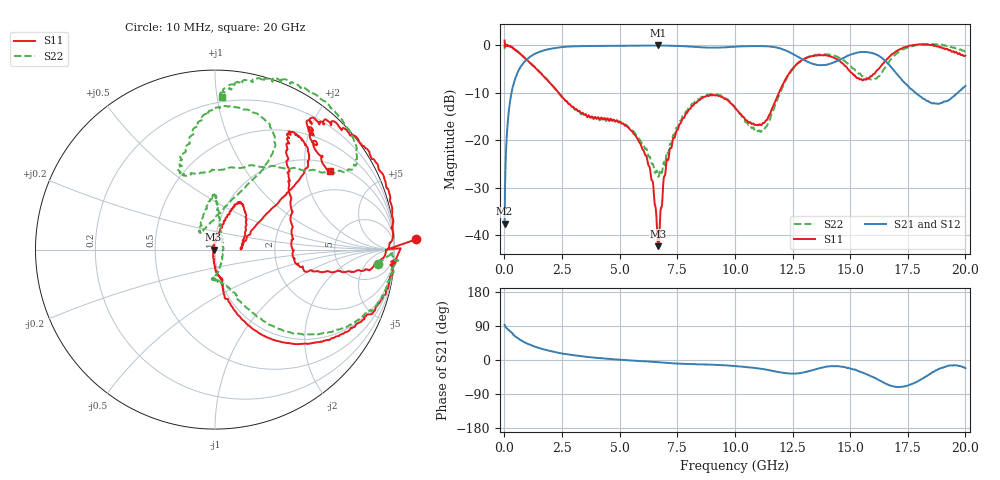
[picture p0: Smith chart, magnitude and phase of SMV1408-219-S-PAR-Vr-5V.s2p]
! Skyworks SMV1408-219 De-embedded S-Parameter Data
! Created  11-5-2013
! 2 Port Network Data
! Mounted on Board # SK41159-3 Rev 1 in Series, Cathode is connected to RF1 as Input( Pin 1) and Anode is connected RF2 as Output(Pin 2)
! Temperature = +25 °C
! RF traces and connectors are de-embedded using TRL calibration and standards
! Reference planes are package pins
! Pin 1 Input port (S-Port1), Pin 2 Output port (S-port2)
! Pin = 0 dBm, Bias: Vr = 5V
! Dev # 1
#  HZ  S  DB  R  50.00
! Rohde & Schwarz ZVA24 4Ports - Version 2.90 - 1145.1110k26 SN: 100216
! Date: 2013-11-05 15:25:47
! Measurements: S11 S21 S12 S22
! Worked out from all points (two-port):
!   2000 points, 10 MHz to 20 GHz, reference 50 ohm
!   highest |S21| = -0.06 dB at 6.66 GHz (marker M1); lowest = -37.6 dB at 10 MHz (marker M2)
!   |S21| within 3 dB of the highest: 956.2 MHz to 12.96 GHz (12.01 GHz wide, 173 % of centre); 14.54 GHz to 16.47 GHz (1.928 GHz wide, 12.4 % of centre)
!   lowest |S11| = -42.4 dB at 6.67 GHz (marker M3), VSWR 1.02, Z = 49.2 - j0.0307 ohm
!   |S11| at or under -10 dB: 2.348 GHz to 11.91 GHz (9.561 GHz wide, 134 % of centre)
!   |S22| runs from -27.7 to 0.3 dB; largest |S21 - S12| = 0.033
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1e7  1.00 2.9  -37.63 92.7  -39.04 87.0  -0.83 -4.9
2.1e8  -0.15 -13.0  -13.17 78.2  -13.22 77.9  -0.21 -12.7
6.3e8  -1.62 -35.7  -5.22 55.5  -5.21 55.5  -1.53 -31.5
1.71e9  -6.59 -65.6  -1.10 28.0  -1.11 28.1  -6.45 -56.1
3.35e9  -14.34 -78.1  -0.19 9.8  -0.19 9.7  -14.52 -79.5
5.73e9  -19.41 -89.2  -0.09 -2.2  -0.09 -2.1  -18.88 -79.0
6.36e9  -27.75 -103.0  -0.07 -4.6  -0.07 -4.7  -24.43 -47.2
6.66e9  -42.11 -175.2  -0.06 -6.1  -0.07 -5.9  -27.37 -4.0
6.67e9  -42.36 -177.7  -0.06 -6.1  -0.07 -5.9  -27.59 -5.0
6.68e9  -42.25 -176.5  -0.06 -6.2  -0.07 -6.0  -27.73 -5.7
7.11e9  -24.15 78.7  -0.09 -7.9  -0.09 -8.0  -22.88 63.0
7.79e9  -15.35 70.6  -0.20 -10.3  -0.21 -10.2  -14.89 83.6
8.86e9  -10.71 62.3  -0.49 -12.1  -0.50 -12.3  -10.43 90.4
1.001e10  -13.18 37.6  -0.30 -15.9  -0.31 -15.8  -13.19 105.0
1.12e10  -16.46 4.1  -0.19 -23.7  -0.21 -23.5  -17.69 120.6
1.334e10  -2.27 48.4  -3.86 -27.3  -3.87 -26.9  -2.22 69.2
1.438e10  -2.84 55.0  -3.45 -16.6  -3.45 -16.7  -2.35 92.8
1.551e10  -7.31 7.2  -1.41 -33.2  -1.42 -31.5  -6.51 113.9
1.667e10  -2.56 -9.6  -4.03 -65.6  -4.02 -65.7  -3.66 42.5
1.758e10  -0.05 4.0  -8.99 -65.7  -8.99 -65.5  -0.40 35.1
1.889e10  -0.47 47.1  -12.25 -22.9  -12.25 -22.1  0.14 69.1
2e10  -2.19 34.4  -8.58 -21.5  -8.57 -21.1  -1.39 87.3
